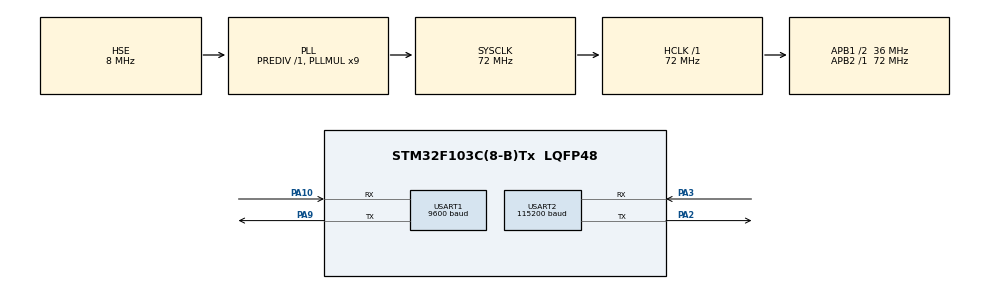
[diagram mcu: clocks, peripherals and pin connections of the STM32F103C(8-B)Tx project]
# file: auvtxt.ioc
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Mcu.Family=STM32F1
Mcu.Name=STM32F103C(8-B)Tx
Mcu.Package=LQFP48
NVIC.PriorityGroup=NVIC_PRIORITYGROUP_4
NVIC.USART2_IRQn=true\:1\:0\:false\:false\:true\:true\:true\:true
PA10.Mode=Asynchronous
PA10.Signal=USART1_RX
PA2.Mode=Asynchronous
PA2.Signal=USART2_TX
PA3.Mode=Asynchronous
PA3.Signal=USART2_RX
PA13.Mode=Serial_Wire
PA13.Signal=SYS_JTMS-SWDIO
PA14.Mode=Serial_Wire
PA14.Signal=SYS_JTCK-SWCLK
PA9.Mode=Asynchronous
PA9.Signal=USART1_TX
PD0-OSC_IN.Mode=HSE-External-Oscillator
PD0-OSC_IN.Signal=RCC_OSC_IN
PD1-OSC_OUT.Mode=HSE-External-Oscillator
PD1-OSC_OUT.Signal=RCC_OSC_OUT
ProjectManager.HeapSize=0x200
ProjectManager.StackSize=0x400
ProjectManager.TargetToolchain=MDK-ARM V5.32
RCC.AHBFreq_Value=72000000
RCC.APB1CLKDivider=RCC_HCLK_DIV2
RCC.APB1Freq_Value=36000000
RCC.APB1TimFreq_Value=72000000
RCC.APB2Freq_Value=72000000
RCC.APB2TimFreq_Value=72000000
RCC.HCLKFreq_Value=72000000
RCC.PLLMUL=RCC_PLL_MUL9
RCC.PLLSourceVirtual=RCC_PLLSOURCE_HSE
RCC.SYSCLKFreq_VALUE=72000000
RCC.SYSCLKSource=RCC_SYSCLKSOURCE_PLLCLK
RCC.USBFreq_Value=72000000
USART1.BaudRate=9600
USART1.VirtualMode=VM_ASYNC
USART2.BaudRate=115200
USART2.VirtualMode=VM_ASYNC
board=custom

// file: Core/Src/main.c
/* USER CODE BEGIN Header */
/**
  ******************************************************************************
  * @file           : main.c
  * @brief          : Main program body
  ******************************************************************************
  * @attention
  *
  * Copyright (c) 2026 STMicroelectronics.
  * All rights reserved.
  *
  * This software is licensed under terms that can be found in the LICENSE file
  * in the root directory of this software component.
  * If no LICENSE file comes with this software, it is provided AS-IS.
  *
  ******************************************************************************
  */
/* USER CODE END Header */
#include "main.h"

/* USER CODE BEGIN Includes */
#include <stdio.h>
#include <string.h>
/* USER CODE END Includes */

UART_HandleTypeDef huart1;
UART_HandleTypeDef huart2;

/* USER CODE BEGIN PV */
#define PC_RX_RING_SIZE 128U

static volatile uint8_t pc_rx_ring[PC_RX_RING_SIZE];
static volatile uint16_t pc_rx_head;
static volatile uint16_t pc_rx_tail;
/* USER CODE END PV */

void SystemClock_Config(void);
static void MX_GPIO_Init(void);
static void MX_USART1_UART_Init(void);
static void MX_USART2_UART_Init(void);

/* USER CODE BEGIN 0 */

#define MOTOR_COUNT         4U
#define RF_FRAME_LENGTH     7U
#define RF_CHANNEL_SLOT_MS  50U
#define PC_LINK_TIMEOUT_MS  1000U
#define PC_STATUS_MS        1000U
#define PC_LINE_SIZE        48U
#define THROTTLE_DEFAULT    60U
#define THROTTLE_MAX        100U

#define RF_KEY_STOP         0x00U
#define RF_KEY_FORWARD_BASE 0x10U
#define RF_KEY_REVERSE_BASE 0x80U
#define RF_ADDR_PROTOCOL    0xA5U

typedef enum
{
  REMOTE_STOP = 0,
  REMOTE_FORWARD,
  REMOTE_REVERSE
} RemoteDirection;

typedef struct
{
  RemoteDirection direction;
  uint8_t throttle;
} RemoteMotor;

static RemoteMotor motors[MOTOR_COUNT];
static uint8_t rf_channel_index;
static uint8_t pc_connected;
static uint32_t pc_last_rx_tick;
static uint32_t rf_last_tx_tick;
static uint32_t pc_last_status_tick;
static char pc_line[PC_LINE_SIZE];
static uint8_t pc_line_length;

static char Direction_Char(RemoteDirection direction)
{
  if (direction == REMOTE_FORWARD)
  {
    return 'F';
  }
  if (direction == REMOTE_REVERSE)
  {
    return 'R';
  }
  return 'S';
}

static uint8_t Motor_Key(uint8_t index)
{
  if ((motors[index].direction == REMOTE_FORWARD) &&
      (motors[index].throttle > 0U))
  {
    return (uint8_t)(RF_KEY_FORWARD_BASE + motors[index].throttle - 1U);
  }
  if ((motors[index].direction == REMOTE_REVERSE) &&
      (motors[index].throttle > 0U))
  {
    return (uint8_t)(RF_KEY_REVERSE_BASE + motors[index].throttle - 1U);
  }
  return RF_KEY_STOP;
}

static void Motor_Set(uint8_t index, RemoteDirection direction, uint8_t throttle)
{
  if (index >= MOTOR_COUNT)
  {
    return;
  }
  motors[index].throttle = throttle;
  motors[index].direction =
      (throttle == 0U) ? REMOTE_STOP : direction;
}

static void Motor_StopAll(void)
{
  uint8_t index;

  for (index = 0U; index < MOTOR_COUNT; index++)
  {
    motors[index].direction = REMOTE_STOP;
  }
}

static void PC_Write(const char *text)
{
  HAL_UART_Transmit(&huart2, (uint8_t *)text, (uint16_t)strlen(text), 100U);
}

static void PC_SendStatus(void)
{
  char text[128];
  uint32_t uptime = HAL_GetTick();

  (void)snprintf(text, sizeof(text),
                 "STATUS,M1=%c%u,M2=%c%u,M3=%c%u,M4=%c%u,pc=%u,uptime=%lu\r\n",
                 Direction_Char(motors[0].direction), (unsigned int)motors[0].throttle,
                 Direction_Char(motors[1].direction), (unsigned int)motors[1].throttle,
                 Direction_Char(motors[2].direction), (unsigned int)motors[2].throttle,
                 Direction_Char(motors[3].direction), (unsigned int)motors[3].throttle,
                 (unsigned int)pc_connected,
                 (unsigned long)uptime);
  PC_Write(text);
}

static void PC_SendAck(void)
{
  PC_SendStatus();
}

static uint8_t PC_ParseThrottle(const char *text, uint8_t *value)
{
  uint16_t parsed = 0U;
  uint8_t digits = 0U;

  while ((*text == ' ') || (*text == '\t'))
  {
    text++;
  }
  while ((*text >= '0') && (*text <= '9'))
  {
    parsed = (uint16_t)((parsed * 10U) + (uint16_t)(*text - '0'));
    digits++;
    text++;
    if (parsed > THROTTLE_MAX)
    {
      return 0U;
    }
  }
  while ((*text == ' ') || (*text == '\t'))
  {
    text++;
  }
  if ((digits == 0U) || (*text != '\0'))
  {
    return 0U;
  }

  *value = (uint8_t)parsed;
  return 1U;
}

static uint8_t PC_ParseDirection(char ch, RemoteDirection *direction)
{
  if (ch == 'F')
  {
    *direction = REMOTE_FORWARD;
    return 1U;
  }
  if (ch == 'R')
  {
    *direction = REMOTE_REVERSE;
    return 1U;
  }
  if (ch == 'S')
  {
    *direction = REMOTE_STOP;
    return 1U;
  }
  return 0U;
}

static uint8_t PC_ParseChannel(char ch, uint8_t *index)
{
  if ((ch < '1') || (ch > '4'))
  {
    return 0U;
  }
  *index = (uint8_t)(ch - '1');
  return 1U;
}

static void PC_SetAll(RemoteDirection direction)
{
  uint8_t index;

  for (index = 0U; index < MOTOR_COUNT; index++)
  {
    Motor_Set(index, direction, motors[index].throttle);
  }
}

static void PC_SetAllThrottle(uint8_t throttle)
{
  uint8_t index;

  for (index = 0U; index < MOTOR_COUNT; index++)
  {
    Motor_Set(index, motors[index].direction, throttle);
  }
}

static void PC_ExecuteLine(char *line)
{
  uint8_t index;
  uint8_t throttle;
  RemoteDirection direction;

  if ((strcmp(line, "S") == 0) || (strcmp(line, "STOP") == 0))
  {
    Motor_StopAll();
    PC_SendAck();
  }
  else if ((strcmp(line, "F") == 0) || (strcmp(line, "FORWARD") == 0))
  {
    PC_SetAll(REMOTE_FORWARD);
    PC_SendAck();
  }
  else if ((strcmp(line, "R") == 0) || (strcmp(line, "REVERSE") == 0))
  {
    PC_SetAll(REMOTE_REVERSE);
    PC_SendAck();
  }
  else if ((strncmp(line, "M,", 2U) == 0) &&
           (strlen(line) >= 7U) &&
           (line[3] == ',') &&
           (line[5] == ','))
  {
    if (PC_ParseChannel(line[2], &index) == 0U)
    {
      PC_Write("ERR,CHANNEL\r\n");
    }
    else if (PC_ParseDirection(line[4], &direction) == 0U)
    {
      PC_Write("ERR,DIRECTION\r\n");
    }
    else if (PC_ParseThrottle(&line[6], &throttle) == 0U)
    {
      PC_Write("ERR,THROTTLE\r\n");
    }
    else
    {
      Motor_Set(index, direction, throttle);
      PC_SendAck();
    }
  }
  else if ((strncmp(line, "V,", 2U) == 0) &&
           (strlen(line) >= 6U) &&
           (line[3] == ','))
  {
    if (PC_ParseChannel(line[2], &index) == 0U)
    {
      PC_Write("ERR,CHANNEL\r\n");
    }
    else if (PC_ParseThrottle(&line[4], &throttle) == 0U)
    {
      PC_Write("ERR,THROTTLE\r\n");
    }
    else
    {
      Motor_Set(index, motors[index].direction, throttle);
      PC_SendAck();
    }
  }
  else if (strncmp(line, "V,", 2U) == 0)
  {
    if (PC_ParseThrottle(&line[2], &throttle) == 0U)
    {
      PC_Write("ERR,THROTTLE\r\n");
    }
    else
    {
      PC_SetAllThrottle(throttle);
      PC_SendAck();
    }
  }
  else if ((strncmp(line, "C,", 2U) == 0) &&
           (strlen(line) >= 5U) &&
           (line[3] == ','))
  {
    if (PC_ParseDirection(line[2], &direction) == 0U)
    {
      PC_Write("ERR,DIRECTION\r\n");
    }
    else if (PC_ParseThrottle(&line[4], &throttle) == 0U)
    {
      PC_Write("ERR,THROTTLE\r\n");
    }
    else
    {
      for (index = 0U; index < MOTOR_COUNT; index++)
      {
        Motor_Set(index, direction, throttle);
      }
      PC_SendAck();
    }
  }
  else if (strcmp(line, "PING") == 0)
  {
    char text[40];
    (void)snprintf(text, sizeof(text), "PONG,%lu\r\n", (unsigned long)HAL_GetTick());
    PC_Write(text);
  }
  else if ((strcmp(line, "STATUS") == 0) || (strcmp(line, "STATUS?") == 0))
  {
    PC_SendStatus();
  }
  else if (strcmp(line, "H") != 0)
  {
    PC_Write("ERR,COMMAND\r\n");
  }
}

static void PC_HandleLine(void)
{
  char normalized[PC_LINE_SIZE];
  uint8_t i;

  while ((pc_line_length > 0U) &&
         ((pc_line[pc_line_length - 1U] == ' ') ||
          (pc_line[pc_line_length - 1U] == '\t')))
  {
    pc_line_length--;
  }
  pc_line[pc_line_length] = '\0';
  pc_last_rx_tick = HAL_GetTick();
  pc_connected = 1U;
  if (pc_line_length == 0U)
  {
    return;
  }

  for (i = 0U; (i < pc_line_length) && (i < (PC_LINE_SIZE - 1U)); i++)
  {
    char ch = pc_line[i];
    if ((ch >= 'a') && (ch <= 'z'))
    {
      ch = (char)(ch - ('a' - 'A'));
    }
    normalized[i] = ch;
  }
  normalized[i] = '\0';
  PC_ExecuteLine(normalized);
  pc_line_length = 0U;
}

static void PC_ProcessRxChar(uint8_t ch)
{
  if ((ch == '\r') || (ch == '\n'))
  {
    PC_HandleLine();
  }
  else if ((ch == '\b') || (ch == 0x7FU))
  {
    if (pc_line_length > 0U)
    {
      pc_line_length--;
    }
  }
  else if ((ch >= 0x20U) && (ch <= 0x7EU))
  {
    if (pc_line_length < (PC_LINE_SIZE - 1U))
    {
      pc_line[pc_line_length] = (char)ch;
      pc_line_length++;
    }
    else
    {
      pc_line_length = 0U;
      PC_Write("ERR,LINE_TOO_LONG\r\n");
    }
  }
}

static uint8_t PC_RingRead(uint8_t *ch)
{
  if (pc_rx_tail == pc_rx_head)
  {
    return 0U;
  }
  *ch = pc_rx_ring[pc_rx_tail];
  pc_rx_tail = (uint16_t)((pc_rx_tail + 1U) % PC_RX_RING_SIZE);
  return 1U;
}

void USART2_IRQHandler(void)
{
  uint32_t status = USART2->SR;

  if ((status & (USART_SR_RXNE | USART_SR_ORE)) != 0U)
  {
    uint8_t ch = (uint8_t)USART2->DR;
    uint16_t next;

    if ((status & USART_SR_RXNE) != 0U)
    {
      next = (uint16_t)((pc_rx_head + 1U) % PC_RX_RING_SIZE);
      if (next != pc_rx_tail)
      {
        pc_rx_ring[pc_rx_head] = ch;
        pc_rx_head = next;
      }
    }
  }
}

static void RF_SendNextMotor(void)
{
  uint8_t frame[RF_FRAME_LENGTH] = {0xFD, 0x01, RF_ADDR_PROTOCOL, 0x01, 0x00, 0x40, 0xDF};

  frame[3] = (uint8_t)(rf_channel_index + 1U);
  frame[4] = Motor_Key(rf_channel_index);
  (void)HAL_UART_Transmit(&huart1, frame, RF_FRAME_LENGTH, 100U);
  rf_last_tx_tick = HAL_GetTick();
  rf_channel_index = (uint8_t)((rf_channel_index + 1U) % MOTOR_COUNT);
}

/* USER CODE END 0 */

int main(void)
{

  /* MCU Configuration--------------------------------------------------------*/

  /* Reset of all peripherals, Initializes the Flash interface and the Systick. */
  HAL_Init();

  /* Configure the system clock */
  SystemClock_Config();

  /* Initialize all configured peripherals */
  MX_GPIO_Init();
  MX_USART1_UART_Init();
  MX_USART2_UART_Init();
  /* USER CODE BEGIN 2 */

  {
    uint8_t index;
    for (index = 0U; index < MOTOR_COUNT; index++)
    {
      motors[index].direction = REMOTE_STOP;
      motors[index].throttle = THROTTLE_DEFAULT;
    }
  }
  rf_channel_index = 0U;
  pc_connected = 0U;
  pc_line_length = 0U;
  pc_rx_head = 0U;
  pc_rx_tail = 0U;
  HAL_Delay(500U);
  rf_last_tx_tick = HAL_GetTick() - RF_CHANNEL_SLOT_MS;
  pc_last_status_tick = HAL_GetTick();
  PC_Write("BOOT,auvtxt,2\r\n");

  /* USER CODE END 2 */

  /* Infinite loop */
  while (1)
  {

    /* USER CODE BEGIN 3 */
    uint8_t ch;
    uint32_t now = HAL_GetTick();

    while (PC_RingRead(&ch) != 0U)
    {
      PC_ProcessRxChar(ch);
    }

    if ((pc_connected != 0U) &&
        ((now - pc_last_rx_tick) > PC_LINK_TIMEOUT_MS))
    {
      pc_connected = 0U;
      Motor_StopAll();
      PC_Write("ERR,PC_TIMEOUT\r\n");
    }

    if ((now - rf_last_tx_tick) >= RF_CHANNEL_SLOT_MS)
    {
      RF_SendNextMotor();
    }

    if ((pc_connected != 0U) &&
        ((now - pc_last_status_tick) >= PC_STATUS_MS))
    {
      PC_SendStatus();
      pc_last_status_tick = now;
    }
  }
  /* USER CODE END 3 */
}

void SystemClock_Config(void)
{
  RCC_OscInitTypeDef RCC_OscInitStruct = {0};
  RCC_ClkInitTypeDef RCC_ClkInitStruct = {0};

  /** Initializes the RCC Oscillators according to the specified parameters
  * in the RCC_OscInitTypeDef structure.
  */
  RCC_OscInitStruct.OscillatorType = RCC_OSCILLATORTYPE_HSE;
  RCC_OscInitStruct.HSEState = RCC_HSE_ON;
  RCC_OscInitStruct.HSEPredivValue = RCC_HSE_PREDIV_DIV1;
  RCC_OscInitStruct.HSIState = RCC_HSI_ON;
  RCC_OscInitStruct.PLL.PLLState = RCC_PLL_ON;
  RCC_OscInitStruct.PLL.PLLSource = RCC_PLLSOURCE_HSE;
  RCC_OscInitStruct.PLL.PLLMUL = RCC_PLL_MUL9;
  if (HAL_RCC_OscConfig(&RCC_OscInitStruct) != HAL_OK)
  {
    Error_Handler();
  }

  /** Initializes the CPU, AHB and APB buses clocks
  */
  RCC_ClkInitStruct.ClockType = RCC_CLOCKTYPE_HCLK|RCC_CLOCKTYPE_SYSCLK
                              |RCC_CLOCKTYPE_PCLK1|RCC_CLOCKTYPE_PCLK2;
  RCC_ClkInitStruct.SYSCLKSource = RCC_SYSCLKSOURCE_PLLCLK;
  RCC_ClkInitStruct.AHBCLKDivider = RCC_SYSCLK_DIV1;
  RCC_ClkInitStruct.APB1CLKDivider = RCC_HCLK_DIV2;
  RCC_ClkInitStruct.APB2CLKDivider = RCC_HCLK_DIV1;

  if (HAL_RCC_ClockConfig(&RCC_ClkInitStruct, FLASH_LATENCY_2) != HAL_OK)
  {
    Error_Handler();
  }
}

static void MX_USART1_UART_Init(void)
{

  huart1.Instance = USART1;
  huart1.Init.BaudRate = 9600;
  huart1.Init.WordLength = UART_WORDLENGTH_8B;
  huart1.Init.StopBits = UART_STOPBITS_1;
  huart1.Init.Parity = UART_PARITY_NONE;
  huart1.Init.Mode = UART_MODE_TX_RX;
  huart1.Init.HwFlowCtl = UART_HWCONTROL_NONE;
  huart1.Init.OverSampling = UART_OVERSAMPLING_16;
  if (HAL_UART_Init(&huart1) != HAL_OK)
  {
    Error_Handler();
  }

}

static void MX_USART2_UART_Init(void)
{

  huart2.Instance = USART2;
  huart2.Init.BaudRate = 115200;
  huart2.Init.WordLength = UART_WORDLENGTH_8B;
  huart2.Init.StopBits = UART_STOPBITS_1;
  huart2.Init.Parity = UART_PARITY_NONE;
  huart2.Init.Mode = UART_MODE_TX_RX;
  huart2.Init.HwFlowCtl = UART_HWCONTROL_NONE;
  huart2.Init.OverSampling = UART_OVERSAMPLING_16;
  if (HAL_UART_Init(&huart2) != HAL_OK)
  {
    Error_Handler();
  }
  /* USER CODE BEGIN USART2_Init 2 */
  __HAL_UART_CLEAR_OREFLAG(&huart2);
  __HAL_UART_ENABLE_IT(&huart2, UART_IT_RXNE);
  /* USER CODE END USART2_Init 2 */

}

static void MX_GPIO_Init(void)
{

  /* GPIO Ports Clock Enable */
  __HAL_RCC_GPIOD_CLK_ENABLE();
  __HAL_RCC_GPIOA_CLK_ENABLE();

}

void Error_Handler(void)
{
  __disable_irq();
  while (1)
  {
  }
}
